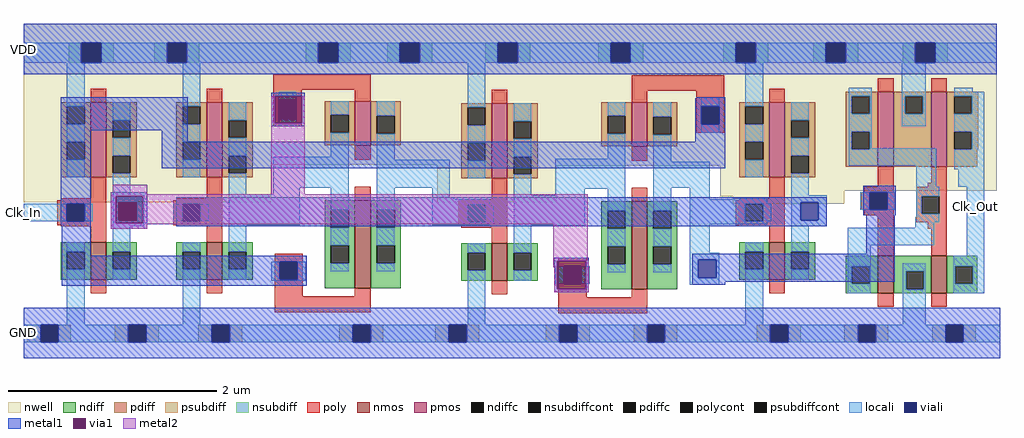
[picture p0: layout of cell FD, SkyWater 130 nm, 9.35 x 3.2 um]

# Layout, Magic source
magic
tech sky130A
<< nwell >>
rect 0 185 932 320
rect 0 149 237 185
rect 396 184 932 185
rect 396 149 510 184
rect 667 160 932 184
rect 667 155 786 160
rect 679 148 786 155
<< nmos >>
rect 64 75 79 111
rect 175 75 190 111
rect 317 67 332 151
rect 448 74 463 110
rect 582 66 597 150
rect 714 75 729 111
rect 818 62 833 98
rect 869 62 884 98
<< pmos >>
rect 64 173 79 245
rect 175 173 190 245
rect 317 204 332 246
rect 448 172 463 244
rect 582 203 597 245
rect 714 173 729 245
rect 818 183 833 255
rect 869 183 884 255
<< ndiff >>
rect 288 142 317 151
rect 288 125 294 142
rect 311 125 317 142
rect 35 102 64 111
rect 35 85 41 102
rect 58 85 64 102
rect 35 75 64 85
rect 79 102 108 111
rect 79 85 85 102
rect 102 85 108 102
rect 79 75 108 85
rect 146 102 175 111
rect 146 85 152 102
rect 169 85 175 102
rect 146 75 175 85
rect 190 102 219 111
rect 190 85 196 102
rect 213 85 219 102
rect 288 108 317 125
rect 190 75 219 85
rect 288 91 294 108
rect 311 91 317 108
rect 288 67 317 91
rect 332 142 361 151
rect 332 125 338 142
rect 355 125 361 142
rect 332 108 361 125
rect 553 141 582 150
rect 553 124 559 141
rect 576 124 582 141
rect 332 91 338 108
rect 355 91 361 108
rect 332 67 361 91
rect 419 101 448 110
rect 419 84 425 101
rect 442 84 448 101
rect 419 74 448 84
rect 463 101 492 110
rect 463 84 469 101
rect 486 84 492 101
rect 553 107 582 124
rect 463 74 492 84
rect 553 90 559 107
rect 576 90 582 107
rect 553 66 582 90
rect 597 141 626 150
rect 597 124 603 141
rect 620 124 626 141
rect 597 107 626 124
rect 597 90 603 107
rect 620 90 626 107
rect 597 66 626 90
rect 685 102 714 111
rect 685 85 691 102
rect 708 85 714 102
rect 685 75 714 85
rect 729 102 758 111
rect 729 85 735 102
rect 752 85 758 102
rect 729 75 758 85
rect 787 88 818 98
rect 787 71 793 88
rect 810 71 818 88
rect 787 62 818 71
rect 833 83 869 98
rect 833 66 845 83
rect 862 66 869 83
rect 833 62 869 66
rect 884 88 913 98
rect 884 71 892 88
rect 909 71 913 88
rect 884 62 913 71
<< pdiff >>
rect 35 241 64 245
rect 35 224 41 241
rect 58 224 64 241
rect 35 207 64 224
rect 35 190 41 207
rect 58 190 64 207
rect 35 173 64 190
rect 79 228 108 245
rect 79 211 85 228
rect 102 211 108 228
rect 79 194 108 211
rect 79 177 85 194
rect 102 177 108 194
rect 79 173 108 177
rect 146 241 175 245
rect 146 224 152 241
rect 169 224 175 241
rect 146 207 175 224
rect 146 190 152 207
rect 169 190 175 207
rect 146 173 175 190
rect 190 228 219 245
rect 190 211 196 228
rect 213 211 219 228
rect 288 233 317 246
rect 190 194 219 211
rect 288 216 294 233
rect 311 216 317 233
rect 288 204 317 216
rect 332 232 361 246
rect 332 215 338 232
rect 355 215 361 232
rect 332 204 361 215
rect 419 240 448 244
rect 419 223 425 240
rect 442 223 448 240
rect 419 206 448 223
rect 190 177 196 194
rect 213 177 219 194
rect 190 173 219 177
rect 419 189 425 206
rect 442 189 448 206
rect 419 172 448 189
rect 463 227 492 244
rect 463 210 469 227
rect 486 210 492 227
rect 463 193 492 210
rect 553 232 582 245
rect 553 215 559 232
rect 576 215 582 232
rect 553 203 582 215
rect 597 231 626 245
rect 597 214 603 231
rect 620 214 626 231
rect 787 251 818 255
rect 685 241 714 245
rect 685 224 691 241
rect 708 224 714 241
rect 597 203 626 214
rect 685 207 714 224
rect 463 176 469 193
rect 486 176 492 193
rect 685 190 691 207
rect 708 190 714 207
rect 463 172 492 176
rect 685 173 714 190
rect 729 228 758 245
rect 729 211 735 228
rect 752 211 758 228
rect 729 194 758 211
rect 729 177 735 194
rect 752 177 758 194
rect 787 234 793 251
rect 810 234 818 251
rect 787 217 818 234
rect 787 200 793 217
rect 810 200 818 217
rect 787 183 818 200
rect 833 251 869 255
rect 833 234 844 251
rect 861 234 869 251
rect 833 183 869 234
rect 884 251 914 255
rect 884 234 891 251
rect 908 234 914 251
rect 884 217 914 234
rect 884 200 891 217
rect 908 200 914 217
rect 884 183 913 200
rect 729 173 758 177
<< ndiffc >>
rect 294 125 311 142
rect 41 85 58 102
rect 85 85 102 102
rect 152 85 169 102
rect 196 85 213 102
rect 294 91 311 108
rect 338 125 355 142
rect 559 124 576 141
rect 338 91 355 108
rect 425 84 442 101
rect 469 84 486 101
rect 559 90 576 107
rect 603 124 620 141
rect 603 90 620 107
rect 691 85 708 102
rect 735 85 752 102
rect 793 71 810 88
rect 845 66 862 83
rect 892 71 909 88
<< pdiffc >>
rect 41 224 58 241
rect 41 190 58 207
rect 85 211 102 228
rect 85 177 102 194
rect 152 224 169 241
rect 152 190 169 207
rect 196 211 213 228
rect 294 216 311 233
rect 338 215 355 232
rect 425 223 442 240
rect 196 177 213 194
rect 425 189 442 206
rect 469 210 486 227
rect 559 215 576 232
rect 603 214 620 231
rect 691 224 708 241
rect 469 176 486 193
rect 691 190 708 207
rect 735 211 752 228
rect 735 177 752 194
rect 793 234 810 251
rect 793 200 810 217
rect 844 234 861 251
rect 891 234 908 251
rect 891 200 908 217
<< psubdiff >>
rect 3 15 16 32
rect 33 15 45 32
rect 87 15 100 32
rect 117 15 129 32
rect 167 15 180 32
rect 197 15 209 32
rect 302 15 315 32
rect 332 15 344 32
rect 394 15 407 32
rect 424 15 436 32
rect 500 15 513 32
rect 530 15 542 32
rect 584 15 597 32
rect 614 15 626 32
rect 702 15 715 32
rect 732 15 744 32
rect 786 15 799 32
rect 816 15 828 32
rect 870 15 883 32
rect 900 15 912 32
<< nsubdiff >>
rect 43 283 55 302
rect 74 283 86 302
rect 125 283 137 302
rect 156 283 168 302
rect 270 283 282 302
rect 301 283 313 302
rect 348 283 360 302
rect 379 283 391 302
rect 442 283 454 302
rect 473 283 485 302
rect 550 283 562 302
rect 581 283 593 302
rect 670 283 682 302
rect 701 283 713 302
rect 756 283 768 302
rect 787 283 799 302
rect 842 283 854 302
rect 873 283 885 302
<< psubdiffcont >>
rect 16 15 33 32
rect 100 15 117 32
rect 180 15 197 32
rect 315 15 332 32
rect 407 15 424 32
rect 513 15 530 32
rect 597 15 614 32
rect 715 15 732 32
rect 799 15 816 32
rect 883 15 900 32
<< nsubdiffcont >>
rect 55 283 74 302
rect 137 283 156 302
rect 282 283 301 302
rect 360 283 379 302
rect 454 283 473 302
rect 562 283 581 302
rect 682 283 701 302
rect 768 283 787 302
rect 854 283 873 302
<< poly >>
rect 64 245 79 258
rect 175 245 190 258
rect 239 257 332 272
rect 239 247 266 257
rect 239 230 244 247
rect 261 230 266 247
rect 317 246 332 257
rect 239 222 266 230
rect 448 244 463 257
rect 582 256 671 271
rect 582 245 597 256
rect 317 190 332 204
rect 64 153 79 173
rect 175 153 190 173
rect 644 241 671 256
rect 714 245 729 258
rect 818 255 833 268
rect 869 255 884 268
rect 644 224 649 241
rect 666 224 671 241
rect 644 216 671 224
rect 582 189 597 203
rect 35 151 79 153
rect 146 151 190 153
rect 317 151 332 164
rect 448 152 463 172
rect 32 148 79 151
rect 32 131 41 148
rect 58 131 79 148
rect 32 127 79 131
rect 143 148 190 151
rect 143 131 152 148
rect 169 131 190 148
rect 143 127 190 131
rect 35 126 79 127
rect 146 126 190 127
rect 64 111 79 126
rect 175 111 190 126
rect 240 92 267 100
rect 240 75 245 92
rect 262 75 267 92
rect 64 62 79 75
rect 175 62 190 75
rect 240 59 267 75
rect 419 150 463 152
rect 582 150 597 163
rect 714 153 729 173
rect 818 164 833 183
rect 869 168 884 183
rect 866 164 884 168
rect 805 159 833 164
rect 685 151 729 153
rect 416 147 463 150
rect 416 130 425 147
rect 442 130 463 147
rect 416 126 463 130
rect 419 125 463 126
rect 448 110 463 125
rect 512 88 539 96
rect 317 59 332 67
rect 448 61 463 74
rect 512 71 517 88
rect 534 71 539 88
rect 240 44 332 59
rect 512 58 539 71
rect 682 148 729 151
rect 682 131 691 148
rect 708 131 729 148
rect 802 142 810 159
rect 827 142 834 159
rect 855 155 884 164
rect 805 137 833 142
rect 682 127 729 131
rect 685 126 729 127
rect 714 111 729 126
rect 818 98 833 137
rect 855 138 860 155
rect 877 138 884 155
rect 855 130 884 138
rect 866 124 884 130
rect 869 98 884 124
rect 582 58 597 66
rect 714 62 729 75
rect 512 43 597 58
rect 818 49 833 62
rect 869 49 884 62
<< polycont >>
rect 244 230 261 247
rect 649 224 666 241
rect 41 131 58 148
rect 152 131 169 148
rect 245 75 262 92
rect 425 130 442 147
rect 517 71 534 88
rect 691 131 708 148
rect 810 142 827 159
rect 860 138 877 155
<< locali >>
rect 0 283 55 302
rect 74 283 137 302
rect 156 283 282 302
rect 301 283 360 302
rect 379 283 454 302
rect 473 283 562 302
rect 581 283 682 302
rect 701 283 768 302
rect 787 283 854 302
rect 873 283 932 302
rect 41 241 58 283
rect 41 207 58 224
rect 41 173 58 190
rect 85 228 102 245
rect 85 194 102 211
rect 85 156 102 177
rect 152 241 169 283
rect 244 247 261 255
rect 152 207 169 224
rect 152 173 169 190
rect 196 228 213 245
rect 244 222 261 229
rect 294 233 311 246
rect 196 194 213 211
rect 294 193 311 216
rect 196 157 213 177
rect 239 163 311 193
rect 239 157 264 163
rect 85 149 115 156
rect 0 131 41 148
rect 58 131 66 148
rect 85 132 91 149
rect 108 132 115 149
rect 85 126 115 132
rect 143 131 152 148
rect 169 131 177 148
rect 196 127 264 157
rect 294 142 311 163
rect 41 102 58 111
rect 41 32 58 85
rect 85 102 102 126
rect 85 75 102 85
rect 152 102 169 111
rect 152 32 169 85
rect 196 102 213 127
rect 294 108 311 125
rect 196 75 213 85
rect 237 75 245 92
rect 262 75 270 92
rect 294 83 311 91
rect 338 232 355 246
rect 338 190 355 215
rect 425 240 442 283
rect 425 206 442 223
rect 338 163 408 190
rect 425 172 442 189
rect 469 227 486 244
rect 469 193 486 210
rect 559 232 576 245
rect 559 191 576 215
rect 338 142 355 163
rect 391 154 408 163
rect 469 156 486 176
rect 509 162 576 191
rect 509 156 537 162
rect 391 152 412 154
rect 391 147 446 152
rect 391 130 425 147
rect 442 130 450 147
rect 391 127 446 130
rect 469 127 537 156
rect 559 141 576 162
rect 338 108 355 125
rect 338 83 355 91
rect 425 101 442 110
rect 237 74 270 75
rect 425 32 442 84
rect 469 101 486 127
rect 559 107 576 124
rect 469 74 486 84
rect 509 71 517 88
rect 534 71 542 88
rect 559 82 576 90
rect 603 231 620 245
rect 649 241 666 250
rect 649 216 666 224
rect 691 241 708 283
rect 790 251 812 259
rect 603 188 620 214
rect 691 207 708 224
rect 603 163 657 188
rect 691 173 708 190
rect 735 228 752 245
rect 735 194 752 211
rect 790 234 793 251
rect 810 234 812 251
rect 790 217 812 234
rect 841 251 864 283
rect 841 234 844 251
rect 861 234 864 251
rect 841 222 864 234
rect 891 255 909 259
rect 891 251 920 255
rect 908 234 920 251
rect 790 200 793 217
rect 810 201 812 217
rect 891 217 920 234
rect 810 200 874 201
rect 790 184 874 200
rect 603 141 620 163
rect 603 107 620 124
rect 603 82 620 90
rect 638 152 657 163
rect 735 156 752 177
rect 855 164 874 184
rect 908 200 920 217
rect 891 181 920 200
rect 895 164 920 181
rect 679 152 712 153
rect 638 148 712 152
rect 735 149 769 156
rect 638 131 691 148
rect 708 131 716 148
rect 735 132 744 149
rect 761 132 769 149
rect 801 142 810 159
rect 827 142 835 159
rect 855 155 877 164
rect 855 138 860 155
rect 855 135 877 138
rect 638 128 712 131
rect 638 101 657 128
rect 735 126 769 132
rect 854 130 877 135
rect 691 102 708 111
rect 638 94 666 101
rect 638 77 646 94
rect 663 77 666 94
rect 638 70 666 77
rect 691 32 708 85
rect 735 102 752 126
rect 854 125 872 130
rect 735 75 752 85
rect 789 108 872 125
rect 789 88 811 108
rect 903 98 920 164
rect 789 71 793 88
rect 810 71 811 88
rect 789 62 811 71
rect 842 83 864 91
rect 842 66 845 83
rect 862 66 864 83
rect 842 32 864 66
rect 890 88 920 98
rect 890 71 892 88
rect 909 71 920 88
rect 890 62 920 71
rect 0 15 16 32
rect 33 15 100 32
rect 117 15 180 32
rect 197 15 315 32
rect 332 15 407 32
rect 424 15 513 32
rect 530 15 597 32
rect 614 15 715 32
rect 732 15 799 32
rect 816 15 883 32
rect 900 15 935 32
<< viali >>
rect 55 283 74 302
rect 137 283 156 302
rect 282 283 301 302
rect 360 283 379 302
rect 454 283 473 302
rect 562 283 581 302
rect 682 283 701 302
rect 768 283 787 302
rect 854 283 873 302
rect 244 230 261 247
rect 244 229 261 230
rect 41 131 58 148
rect 91 132 108 149
rect 152 131 169 148
rect 245 75 262 92
rect 517 71 534 88
rect 649 224 666 241
rect 744 132 761 149
rect 810 142 827 159
rect 646 77 663 94
rect 16 15 33 32
rect 100 15 117 32
rect 180 15 197 32
rect 315 15 332 32
rect 407 15 424 32
rect 513 15 530 32
rect 597 15 614 32
rect 715 15 732 32
rect 799 15 816 32
rect 883 15 900 32
<< metal1 >>
rect 0 302 932 320
rect 0 283 55 302
rect 74 283 137 302
rect 156 283 282 302
rect 301 283 360 302
rect 379 283 454 302
rect 473 283 562 302
rect 581 283 682 302
rect 701 283 768 302
rect 787 283 854 302
rect 873 283 932 302
rect 0 272 932 283
rect 237 251 269 254
rect 35 218 157 250
rect 237 225 240 251
rect 266 225 269 251
rect 644 249 672 250
rect 237 222 269 225
rect 643 241 672 249
rect 643 224 649 241
rect 666 224 672 241
rect 35 148 64 218
rect 132 207 157 218
rect 643 207 672 224
rect 132 182 672 207
rect 804 159 835 165
rect 35 131 41 148
rect 58 131 64 148
rect 35 127 64 131
rect 36 98 64 127
rect 83 155 118 159
rect 83 129 88 155
rect 114 129 118 155
rect 83 124 118 129
rect 146 149 769 154
rect 146 148 744 149
rect 146 131 152 148
rect 169 132 744 148
rect 761 132 769 149
rect 804 142 810 159
rect 827 142 835 159
rect 804 137 835 142
rect 169 131 769 132
rect 146 126 769 131
rect 807 100 834 137
rect 36 92 271 98
rect 36 75 245 92
rect 262 75 271 92
rect 36 69 271 75
rect 508 93 541 96
rect 508 66 511 93
rect 538 66 541 93
rect 640 94 834 100
rect 640 77 646 94
rect 663 77 834 94
rect 640 73 834 77
rect 640 71 672 73
rect 641 70 672 71
rect 508 63 541 66
rect 0 32 935 48
rect 0 15 16 32
rect 33 15 100 32
rect 117 15 180 32
rect 197 15 315 32
rect 332 15 407 32
rect 424 15 513 32
rect 530 15 597 32
rect 614 15 715 32
rect 732 15 799 32
rect 816 15 883 32
rect 900 15 935 32
rect 0 0 935 15
<< via1 >>
rect 240 247 266 251
rect 240 229 244 247
rect 244 229 261 247
rect 261 229 266 247
rect 240 225 266 229
rect 88 149 114 155
rect 88 132 91 149
rect 91 132 108 149
rect 108 132 114 149
rect 88 129 114 132
rect 511 88 538 93
rect 511 71 517 88
rect 517 71 534 88
rect 534 71 538 88
rect 511 66 538 71
<< metal2 >>
rect 237 225 240 251
rect 266 225 269 251
rect 85 159 118 166
rect 83 157 118 159
rect 237 157 269 225
rect 83 155 540 157
rect 83 129 88 155
rect 114 129 540 155
rect 83 128 540 129
rect 83 124 118 128
rect 507 93 540 128
rect 507 87 511 93
rect 508 66 511 87
rect 538 66 541 93
rect 508 63 541 66
<< labels >>
rlabel locali 905 138 919 152 1 Clk_Out
port 3 n
rlabel locali 0 131 0 148 3 Clk_In
port 5 e
rlabel metal1 0 0 0 48 3 GND
port 4 e
rlabel metal1 0 272 0 320 3 VDD
port 6 e
<< properties >>
string LEFsite unithddb1
string LEFclass CORE
<< end >>
